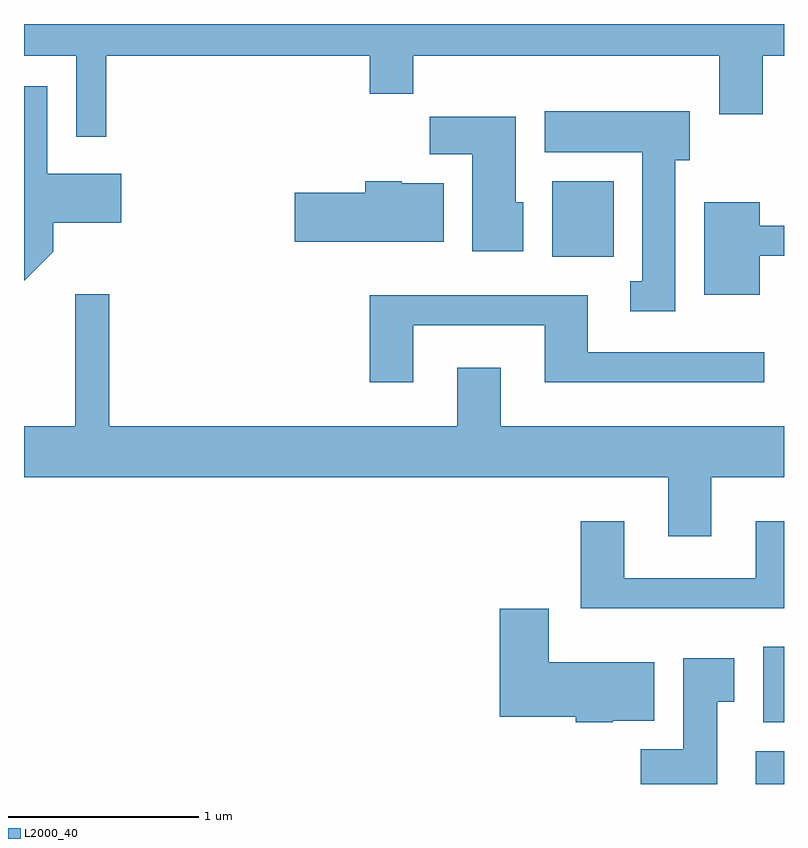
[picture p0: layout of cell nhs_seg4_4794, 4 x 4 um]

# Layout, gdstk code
import gdstk
lib = gdstk.Library(unit=1e-6, precision=1e-09)
def R(c, l, rs):  # rectangles x0, y0, x1, y1
    for r in rs: c.add(gdstk.rectangle(r[:2], r[2:], *l))
def P(c, l, *ps):  # polygons
    for p in ps: c.add(gdstk.Polygon(p, *l))
L2000_40 = (2000, 40)

nhs_seg4_4794 = lib.new_cell('nhs_seg4_4794')
R(nhs_seg4_4794, L2000_40, [(329.461,1321.982,329.611,1322.154), (329.501,1322.306,329.611,1322.704), (328.391,1324.756,328.714,1325.154)])
P(nhs_seg4_4794, L2000_40, [(326.044,1325.816),(327.431,1325.816),(327.431,1325.616),(327.659,1325.616),(327.659,1325.816),(329.271,1325.816),(329.271,1325.506),(329.499,1325.506),(329.499,1325.816),(329.611,1325.816),(329.611,1325.982),(325.611,1325.982),(325.611,1325.816),(325.886,1325.816),(325.886,1325.388),(326.044,1325.388)],
  [(325.764,1324.784),(325.764,1324.936),(326.124,1324.936),(326.124,1325.194),(325.734,1325.194),(325.734,1325.654),(325.611,1325.654),(325.611,1324.631)],
  [(329.039,1325.266),(329.114,1325.266),(329.114,1325.524),(328.351,1325.524),(328.351,1325.306),(328.866,1325.306),(328.866,1324.629),(328.803,1324.629),(328.803,1324.471),(329.039,1324.471)],
  [(328.239,1325.044),(328.199,1325.044),(328.199,1325.494),(327.746,1325.494),(327.746,1325.296),(327.971,1325.296),(327.971,1324.786),(328.239,1324.786)],
  [(327.819,1325.144),(327.6,1325.144),(327.6,1325.154),(327.406,1325.154),(327.406,1325.094),(327.036,1325.094),(327.036,1324.836),(327.819,1324.836)],
  [(329.484,1324.761),(329.611,1324.761),(329.611,1324.919),(329.484,1324.919),(329.484,1325.044),(329.191,1325.044),(329.191,1324.556),(329.484,1324.556)],
  [(329.229,1323.596),(329.611,1323.596),(329.611,1323.864),(328.119,1323.864),(328.119,1324.174),(327.891,1324.174),(327.891,1323.864),(326.059,1323.864),(326.059,1324.559),(325.881,1324.559),(325.881,1323.864),(325.611,1323.864),(325.611,1323.596),(329.001,1323.596),(329.001,1323.286),(329.229,1323.286)],
  [(327.659,1324.396),(328.351,1324.396),(328.351,1324.096),(329.508,1324.096),(329.508,1324.254),(328.579,1324.254),(328.579,1324.554),(327.431,1324.554),(327.431,1324.096),(327.659,1324.096)],
  [(329.611,1323.364),(329.461,1323.364),(329.461,1323.064),(328.769,1323.064),(328.769,1323.364),(328.541,1323.364),(328.541,1322.906),(329.611,1322.906)],
  [(328.71,1322.316),(328.929,1322.316),(328.929,1322.624),(328.374,1322.624),(328.374,1322.904),(328.116,1322.904),(328.116,1322.336),(328.516,1322.336),(328.516,1322.306),(328.71,1322.306)],
  [(329.259,1322.416),(329.349,1322.416),(329.349,1322.644),(329.081,1322.644),(329.081,1322.164),(328.856,1322.164),(328.856,1321.982),(329.259,1321.982)])

lib.write_gds('nhs_seg4_4794.gds')
